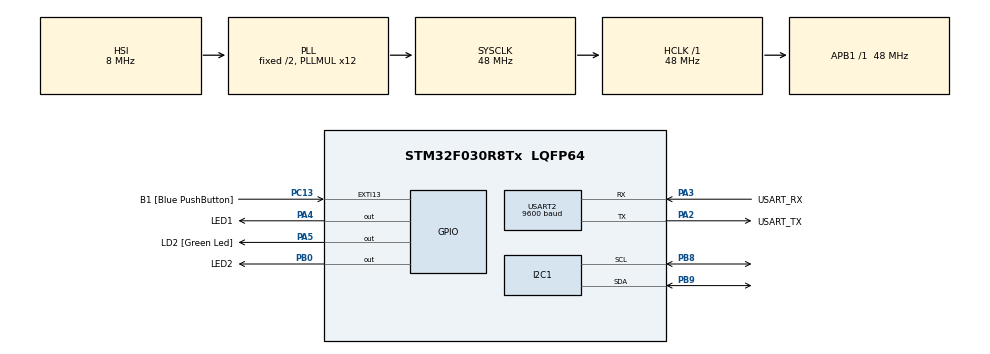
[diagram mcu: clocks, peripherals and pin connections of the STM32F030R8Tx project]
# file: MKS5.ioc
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Dma.Request0=USART2_RX
Dma.USART2_RX.0.Direction=DMA_PERIPH_TO_MEMORY
Dma.USART2_RX.0.Instance=DMA1_Channel5
Dma.USART2_RX.0.MemDataAlignment=DMA_MDATAALIGN_BYTE
Dma.USART2_RX.0.MemInc=DMA_MINC_ENABLE
Dma.USART2_RX.0.Mode=DMA_CIRCULAR
Dma.USART2_RX.0.PeriphDataAlignment=DMA_PDATAALIGN_BYTE
Dma.USART2_RX.0.PeriphInc=DMA_PINC_DISABLE
Dma.USART2_RX.0.Priority=DMA_PRIORITY_LOW
I2C1.Timing=0x00201D2B
Mcu.Family=STM32F0
Mcu.Name=STM32F030R8Tx
Mcu.Package=LQFP64
NVIC.DMA1_Channel4_5_IRQn=true\:0\:0\:false\:false\:true\:false\:true\:true
PA13.GPIO_Label=TMS
PA13.Mode=Serial_Wire
PA13.Signal=SYS_SWDIO
PA14.GPIO_Label=TCK
PA14.Mode=Serial_Wire
PA14.Signal=SYS_SWCLK
PA2.GPIO_Label=USART_TX
PA2.GPIO_Mode=GPIO_MODE_AF_PP
PA2.GPIO_PuPd=GPIO_NOPULL
PA2.GPIO_Speed=GPIO_SPEED_FREQ_LOW
PA2.Mode=Asynchronous
PA2.Signal=USART2_TX
PA3.GPIO_Label=USART_RX
PA3.GPIO_Mode=GPIO_MODE_AF_PP
PA3.GPIO_PuPd=GPIO_NOPULL
PA3.GPIO_Speed=GPIO_SPEED_FREQ_LOW
PA3.Mode=Asynchronous
PA3.Signal=USART2_RX
PA4.GPIO_Label=LED1
PA4.Signal=GPIO_Output
PA5.GPIO_Label=LD2 [Green Led]
PA5.GPIO_Mode=GPIO_MODE_OUTPUT_PP
PA5.GPIO_PuPd=GPIO_NOPULL
PA5.GPIO_Speed=GPIO_SPEED_FREQ_LOW
PA5.Signal=GPIO_Output
PB0.GPIO_Label=LED2
PB0.Signal=GPIO_Output
PB8.Mode=I2C
PB8.Signal=I2C1_SCL
PB9.Mode=I2C
PB9.Signal=I2C1_SDA
PC13.GPIO_Label=B1 [Blue PushButton]
PC13.GPIO_ModeDefaultEXTI=GPIO_MODE_IT_FALLING
PC13.Signal=GPXTI13
PC14-OSC32_IN.Mode=LSE-External-Oscillator
PC14-OSC32_IN.Signal=RCC_OSC32_IN
PC15-OSC32_OUT.Mode=LSE-External-Oscillator
PC15-OSC32_OUT.Signal=RCC_OSC32_OUT
PF0-OSC_IN.Mode=HSE-External-Clock-Source
PF0-OSC_IN.Signal=RCC_OSC_IN
PF1-OSC_OUT.Signal=RCC_OSC_OUT
ProjectManager.HeapSize=0x200
ProjectManager.StackSize=0x400
ProjectManager.TargetToolchain=STM32CubeIDE
RCC.AHBFreq_Value=48000000
RCC.APB1Freq_Value=48000000
RCC.APB1TimFreq_Value=48000000
RCC.HCLKFreq_Value=48000000
RCC.PLLMUL=RCC_PLL_MUL12
RCC.SYSCLKFreq_VALUE=48000000
RCC.SYSCLKSource=RCC_SYSCLKSOURCE_PLLCLK
USART2.BaudRate=9600
USART2.VirtualMode-Asynchronous=VM_ASYNC
board=NUCLEO-F030R8

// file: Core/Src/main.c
/* USER CODE BEGIN Header */
/**
  ******************************************************************************
  * @file           : main.c
  * @brief          : Main program body
  ******************************************************************************
  * @attention
  *
  * Copyright (c) 2025 STMicroelectronics.
  * All rights reserved.
  *
  * This software is licensed under terms that can be found in the LICENSE file
  * in the root directory of this software component.
  * If no LICENSE file comes with this software, it is provided AS-IS.
  *
  ******************************************************************************
  */
/* USER CODE END Header */
#include "main.h"

/* USER CODE BEGIN Includes */
#include <stdio.h>
#include <string.h>
#include <stdlib.h>
/* USER CODE END Includes */

/* USER CODE BEGIN PD */
#define CMD_BUFFER_LEN 256
#define RX_BUFFER_LEN 64
#define uart_rx_write_ptr (RX_BUFFER_LEN - hdma_usart2_rx.Instance->CNDTR)
#define EEPROM_ADDR 0xA0
/* USER CODE END PD */

I2C_HandleTypeDef hi2c1;

UART_HandleTypeDef huart2;
DMA_HandleTypeDef hdma_usart2_rx;

/* USER CODE BEGIN PV */
static uint8_t uart_rx_buf[RX_BUFFER_LEN];
static volatile uint16_t uart_rx_read_ptr = 0;
/* USER CODE END PV */

void SystemClock_Config(void);
static void MX_GPIO_Init(void);
static void MX_DMA_Init(void);
static void MX_USART2_UART_Init(void);
static void MX_I2C1_Init(void);

/* USER CODE BEGIN 0 */
int _write(int file, char const *buf, int n){
	HAL_UART_Transmit(&huart2, (uint8_t*)(buf), n, HAL_MAX_DELAY);

	return n;
}

static void uart_process_command(char *cmd){
	printf("RX: '%s'\r\n", cmd);
	char *token;
	int led1;
	int led2;
	token = strtok(cmd, " ");
	if (strcasecmp(token, "HELLO") == 0) {
		printf("Communication OK\r\n");
	}
	else if (strcasecmp(token, "LED1") == 0) {
		token = strtok(NULL, " ");
		if (strcasecmp(token, "ON") == 0) {
			HAL_GPIO_WritePin(LED1_GPIO_Port, LED1_Pin, 1);
		} else if (strcasecmp(token, "OFF") == 0) {
			HAL_GPIO_WritePin(LED1_GPIO_Port, LED1_Pin, 0);
		}
		printf("OK\r\n");
	}
	else if (strcasecmp(token, "LED2") == 0) {
		token = strtok(NULL, " ");
		if (strcasecmp(token, "ON") == 0) {
			HAL_GPIO_WritePin(LED2_GPIO_Port, LED2_Pin, 1);
		} else if (strcasecmp(token, "OFF") == 0) {
			HAL_GPIO_WritePin(LED2_GPIO_Port, LED2_Pin, 0);
		}
		printf("OK\r\n");
	}
	else if (strcasecmp(token, "STATUS") == 0) {
		token = strtok(NULL, " ");
		led1 = HAL_GPIO_ReadPin(LED1_GPIO_Port, LED1_Pin);
		led2 = HAL_GPIO_ReadPin(LED2_GPIO_Port, LED2_Pin);
		printf("Led Status: led1 '%d' Led2 '%d' \r\n", led1, led2);
	}
	else if (strcasecmp(token, "READ") == 0) {
		token = strtok(NULL, " ");
		uint8_t addr = atoi(token);

		uint8_t value = 0;

		HAL_I2C_Mem_Read(&hi2c1, EEPROM_ADDR, addr, I2C_MEMADD_SIZE_16BIT, &value, 1, 1000);

		printf("Addr 0x%04X= 0x%02X\r\n", addr, value);
	}
	else if (strcasecmp(token, "WRITE") == 0) {
		token = strtok(NULL, " ");
		uint8_t addr = atoi(token);
		token = strtok(NULL, " ");
		uint8_t value = atoi(token);

		HAL_I2C_Mem_Write(&hi2c1, EEPROM_ADDR, addr, I2C_MEMADD_SIZE_16BIT, &value, 1, 1000);

		while (HAL_I2C_IsDeviceReady(&hi2c1, EEPROM_ADDR, 300, 1000) == HAL_TIMEOUT) {}
	}
	else if (strcasecmp(token, "DUMP") == 0) {
			uint8_t value = 0;
			for(uint8_t i=0x0000; i <= 0x000F; i++){
				HAL_I2C_Mem_Read(&hi2c1, EEPROM_ADDR, i, I2C_MEMADD_SIZE_16BIT, &value, 1, 1000);
				printf("%02X ", value);
				if (i == ((0x000F / 2) + 0)) {
					printf("\r\n");
				}
			}
			printf("\r\n");
		}

}
static void uart_byte_available(uint8_t c){
	static uint16_t cnt;
	static char data[CMD_BUFFER_LEN];
	if (cnt < CMD_BUFFER_LEN && c >= 32 && c <= 126) data[cnt++] = c;
	if ((c == '\n' || c == '\r') && cnt > 0) {
		data[cnt] = '\0';
		uart_process_command(data);
		cnt = 0;
	}
}

/* USER CODE END 0 */

int main(void)
{

  /* MCU Configuration--------------------------------------------------------*/

  /* Reset of all peripherals, Initializes the Flash interface and the Systick. */
  HAL_Init();

  /* Configure the system clock */
  SystemClock_Config();

  /* Initialize all configured peripherals */
  MX_GPIO_Init();
  MX_DMA_Init();
  MX_USART2_UART_Init();
  MX_I2C1_Init();
  /* USER CODE BEGIN 2 */
  HAL_UART_Receive_DMA(&huart2, uart_rx_buf, RX_BUFFER_LEN);
  /* USER CODE END 2 */

  /* Infinite loop */
  /* USER CODE BEGIN WHILE */
  while (1)
  {
	  /*uint8_t c;
	  HAL_UART_Receive(&huart2, &c, 1, HAL_MAX_DELAY);
	  HAL_UART_Transmit(&huart2, &c, 1, HAL_MAX_DELAY);*/

	  while (uart_rx_read_ptr != uart_rx_write_ptr){
		  uint8_t b = uart_rx_buf[uart_rx_read_ptr];
		  HAL_UART_Transmit(&huart2, &b, 1, HAL_MAX_DELAY);

		  if (++uart_rx_read_ptr >= RX_BUFFER_LEN) uart_rx_read_ptr = 0;

		  uart_byte_available(b);
	  }

    /* USER CODE END WHILE */

  }
}

void SystemClock_Config(void)
{
  RCC_OscInitTypeDef RCC_OscInitStruct = {0};
  RCC_ClkInitTypeDef RCC_ClkInitStruct = {0};
  RCC_PeriphCLKInitTypeDef PeriphClkInit = {0};

  /** Initializes the RCC Oscillators according to the specified parameters
  * in the RCC_OscInitTypeDef structure.
  */
  RCC_OscInitStruct.OscillatorType = RCC_OSCILLATORTYPE_HSI;
  RCC_OscInitStruct.HSIState = RCC_HSI_ON;
  RCC_OscInitStruct.HSICalibrationValue = RCC_HSICALIBRATION_DEFAULT;
  RCC_OscInitStruct.PLL.PLLState = RCC_PLL_ON;
  RCC_OscInitStruct.PLL.PLLSource = RCC_PLLSOURCE_HSI;
  RCC_OscInitStruct.PLL.PLLMUL = RCC_PLL_MUL12;
  RCC_OscInitStruct.PLL.PREDIV = RCC_PREDIV_DIV1;
  if (HAL_RCC_OscConfig(&RCC_OscInitStruct) != HAL_OK)
  {
    Error_Handler();
  }

  /** Initializes the CPU, AHB and APB buses clocks
  */
  RCC_ClkInitStruct.ClockType = RCC_CLOCKTYPE_HCLK|RCC_CLOCKTYPE_SYSCLK
                              |RCC_CLOCKTYPE_PCLK1;
  RCC_ClkInitStruct.SYSCLKSource = RCC_SYSCLKSOURCE_PLLCLK;
  RCC_ClkInitStruct.AHBCLKDivider = RCC_SYSCLK_DIV1;
  RCC_ClkInitStruct.APB1CLKDivider = RCC_HCLK_DIV1;

  if (HAL_RCC_ClockConfig(&RCC_ClkInitStruct, FLASH_LATENCY_1) != HAL_OK)
  {
    Error_Handler();
  }
  PeriphClkInit.PeriphClockSelection = RCC_PERIPHCLK_I2C1;
  PeriphClkInit.I2c1ClockSelection = RCC_I2C1CLKSOURCE_HSI;
  if (HAL_RCCEx_PeriphCLKConfig(&PeriphClkInit) != HAL_OK)
  {
    Error_Handler();
  }
}

static void MX_I2C1_Init(void)
{

  hi2c1.Instance = I2C1;
  hi2c1.Init.Timing = 0x00201D2B;
  hi2c1.Init.OwnAddress1 = 0;
  hi2c1.Init.AddressingMode = I2C_ADDRESSINGMODE_7BIT;
  hi2c1.Init.DualAddressMode = I2C_DUALADDRESS_DISABLE;
  hi2c1.Init.OwnAddress2 = 0;
  hi2c1.Init.OwnAddress2Masks = I2C_OA2_NOMASK;
  hi2c1.Init.GeneralCallMode = I2C_GENERALCALL_DISABLE;
  hi2c1.Init.NoStretchMode = I2C_NOSTRETCH_DISABLE;
  if (HAL_I2C_Init(&hi2c1) != HAL_OK)
  {
    Error_Handler();
  }

  /** Configure Analogue filter
  */
  if (HAL_I2CEx_ConfigAnalogFilter(&hi2c1, I2C_ANALOGFILTER_ENABLE) != HAL_OK)
  {
    Error_Handler();
  }

  /** Configure Digital filter
  */
  if (HAL_I2CEx_ConfigDigitalFilter(&hi2c1, 0) != HAL_OK)
  {
    Error_Handler();
  }

}

static void MX_USART2_UART_Init(void)
{

  huart2.Instance = USART2;
  huart2.Init.BaudRate = 9600;
  huart2.Init.WordLength = UART_WORDLENGTH_8B;
  huart2.Init.StopBits = UART_STOPBITS_1;
  huart2.Init.Parity = UART_PARITY_NONE;
  huart2.Init.Mode = UART_MODE_TX_RX;
  huart2.Init.HwFlowCtl = UART_HWCONTROL_NONE;
  huart2.Init.OverSampling = UART_OVERSAMPLING_16;
  huart2.Init.OneBitSampling = UART_ONE_BIT_SAMPLE_DISABLE;
  huart2.AdvancedInit.AdvFeatureInit = UART_ADVFEATURE_NO_INIT;
  if (HAL_UART_Init(&huart2) != HAL_OK)
  {
    Error_Handler();
  }

}

static void MX_DMA_Init(void)
{

  /* DMA controller clock enable */
  __HAL_RCC_DMA1_CLK_ENABLE();

  /* DMA interrupt init */
  /* DMA1_Channel4_5_IRQn interrupt configuration */
  HAL_NVIC_SetPriority(DMA1_Channel4_5_IRQn, 0, 0);
  HAL_NVIC_EnableIRQ(DMA1_Channel4_5_IRQn);

}

static void MX_GPIO_Init(void)
{
  GPIO_InitTypeDef GPIO_InitStruct = {0};

  /* GPIO Ports Clock Enable */
  __HAL_RCC_GPIOC_CLK_ENABLE();
  __HAL_RCC_GPIOF_CLK_ENABLE();
  __HAL_RCC_GPIOA_CLK_ENABLE();
  __HAL_RCC_GPIOB_CLK_ENABLE();

  /*Configure GPIO pin Output Level */
  HAL_GPIO_WritePin(GPIOA, LED1_Pin|LD2_Pin, GPIO_PIN_RESET);

  /*Configure GPIO pin Output Level */
  HAL_GPIO_WritePin(LED2_GPIO_Port, LED2_Pin, GPIO_PIN_RESET);

  /*Configure GPIO pin : B1_Pin */
  GPIO_InitStruct.Pin = B1_Pin;
  GPIO_InitStruct.Mode = GPIO_MODE_IT_FALLING;
  GPIO_InitStruct.Pull = GPIO_NOPULL;
  HAL_GPIO_Init(B1_GPIO_Port, &GPIO_InitStruct);

  /*Configure GPIO pins : LED1_Pin LD2_Pin */
  GPIO_InitStruct.Pin = LED1_Pin|LD2_Pin;
  GPIO_InitStruct.Mode = GPIO_MODE_OUTPUT_PP;
  GPIO_InitStruct.Pull = GPIO_NOPULL;
  GPIO_InitStruct.Speed = GPIO_SPEED_FREQ_LOW;
  HAL_GPIO_Init(GPIOA, &GPIO_InitStruct);

  /*Configure GPIO pin : LED2_Pin */
  GPIO_InitStruct.Pin = LED2_Pin;
  GPIO_InitStruct.Mode = GPIO_MODE_OUTPUT_PP;
  GPIO_InitStruct.Pull = GPIO_NOPULL;
  GPIO_InitStruct.Speed = GPIO_SPEED_FREQ_LOW;
  HAL_GPIO_Init(LED2_GPIO_Port, &GPIO_InitStruct);

}

void Error_Handler(void)
{
  __disable_irq();
  while (1)
  {
  }
}
